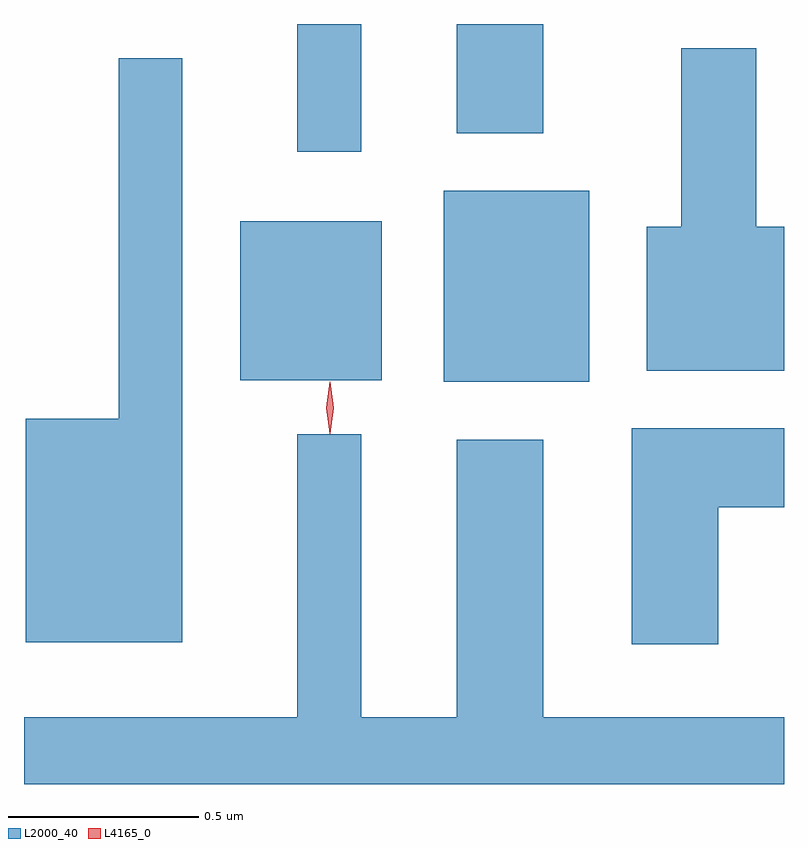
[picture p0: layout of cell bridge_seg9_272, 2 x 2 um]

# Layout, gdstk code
import gdstk
lib = gdstk.Library(unit=1e-6, precision=1e-09)
def R(c, l, rs):  # rectangles x0, y0, x1, y1
    for r in rs: c.add(gdstk.rectangle(r[:2], r[2:], *l))
def P(c, l, *ps):  # polygons
    for p in ps: c.add(gdstk.Polygon(p, *l))
L2000_40 = (2000, 40)
L4165_0 = (4165, 0)

bridge_seg9_272 = lib.new_cell('bridge_seg9_272')
R(bridge_seg9_272, L2000_40, [(1069.986,2052.906,1070.369,2053.409), (1069.451,2052.911,1069.824,2053.329), (1069.601,2053.512,1069.769,2053.848), (1070.021,2053.561,1070.249,2053.848)])
P(bridge_seg9_272, L2000_40, [(1070.882,2053.314),(1070.809,2053.314),(1070.809,2053.784),(1070.611,2053.784),(1070.611,2053.314),(1070.521,2053.314),(1070.521,2052.936),(1070.882,2052.936)],
  [(1069.299,2053.758),(1069.131,2053.758),(1069.131,2052.809),(1068.886,2052.809),(1068.886,2052.221),(1069.299,2052.221)],
  [(1070.709,2052.576),(1070.882,2052.576),(1070.882,2052.784),(1070.481,2052.784),(1070.481,2052.216),(1070.709,2052.216)],
  [(1070.882,2052.024),(1070.249,2052.024),(1070.249,2052.754),(1070.021,2052.754),(1070.021,2052.024),(1069.769,2052.024),(1069.769,2052.768),(1069.601,2052.768),(1069.601,2052.024),(1068.882,2052.024),(1068.882,2051.848),(1070.882,2051.848)])
P(bridge_seg9_272, L4165_0, [(1069.687,2052.773),(1069.687,2052.773),(1069.677,2052.837),(1069.687,2052.901),(1069.687,2052.902),(1069.688,2052.901),(1069.697,2052.837),(1069.688,2052.773)],
  [(1069.687,2052.769),(1069.687,2052.77),(1069.677,2052.838),(1069.687,2052.906),(1069.687,2052.906),(1069.688,2052.906),(1069.697,2052.838),(1069.688,2052.77)])

lib.write_gds('bridge_seg9_272.gds')
